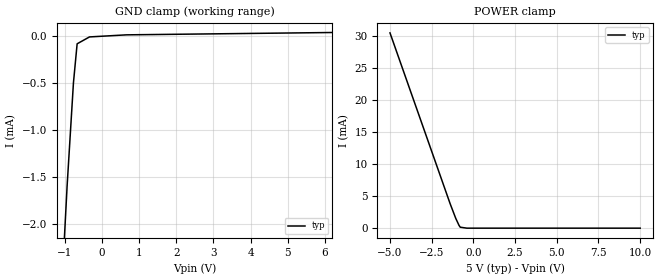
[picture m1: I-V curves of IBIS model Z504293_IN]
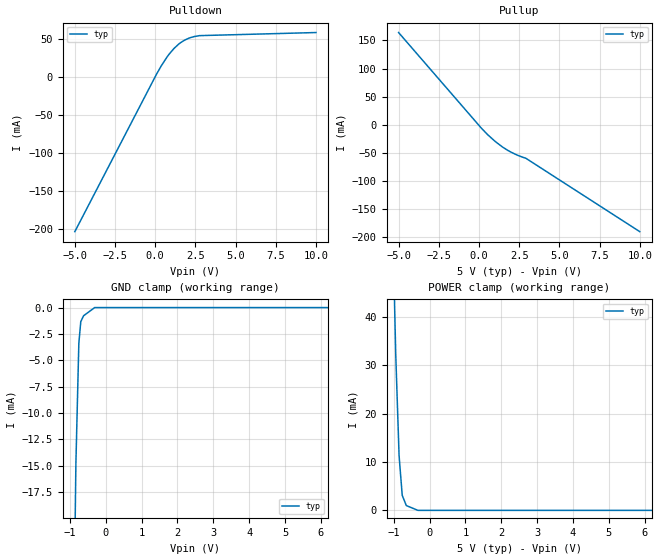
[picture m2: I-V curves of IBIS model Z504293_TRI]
| YOU ARE ONLY AUTHORIZED TO USE THIS SOFTWARE
| ACCORDING TO LICENSOR'S LICENSE RESTRICTIONS.
[IBIS Ver] 3.1
[File Name] mc54hct240aj.ibs
[File Rev] 2.0
[Source] Measured and created by ICX Technology
[Date] Friday 7/14/00 9:08:11 AM
[Copyright]
| (C) COPYRIGHT 1993-2000
| MENTOR GRAPHICS CORPORATION
| ICX STANDARD LIBRARY, ICX PROJECT MODELING,
| ICX CUSTOM MODELING, ICX VENDOR MODEL
| ALL RIGHTS RESERVED.
| THE FOLLOWING ARE TRADEMARKS OR SERVICE MARKS OF
| MENTOR GRAPHICS CORPORATION:ICX (R), ICX STANDARD
| LIBRARY(R), ICX PROJECT MODELING(R), ICX CUSTOM
| MODELING(R), qualityIBIS(TM), MODELVIEWER(TM),
| AND MODELEDITOR(TM)
| ALL COPIES OF SOFTWARE, INCLUDING BUT NOT LIMITED TO
| ANY MODIFICATIONS, ENHANCEMENTS OR DERIVATIVE WORKS,
| MUST CONTAIN ALL MENTOR GRAPHICS CORPORATION'S
| NOTICES AND LEGENDS, INCLUDING THOSE EMBEDDED IN
| SOFTWARE AND THOSE AFFIXED TO SOFTWARE MEDIUM
| AND CONTAINER, AS RECEIVED FROM MENTOR GRAPHICS
| CORPORATION.
|  ZAP Model Builder 2.7
[Component] MC54HCT240AJ
[Manufacturer] OnSemiconductor
[Package]
| variable   typ   min   max
R_pkg  .216ohms NA NA
L_pkg  5.76nH NA NA
C_pkg  2.193pF NA NA
[Pin] signal_name  model_name  R_pin  L_pin C_pin
1 _G Z504293_IN .232 9.76n 3.179p
2 A0 Z504293_IN .224 7.26n 2.686p
3 _Y3 Z504293_TRI .216 5.26n 2.193p
4 A1 Z504293_IN .208 3.76n 1.7p
5 _Y2 Z504293_TRI .2 2.76n 1.207p
6 A2 Z504293_IN .2 2.76n 1.207p
7 _Y1 Z504293_TRI .208 3.76n 1.7p
8 A3 Z504293_IN .216 5.26n 2.193p
9 _Y0 Z504293_TRI .224 7.26n 2.686p
10 GND GND .232 9.76n 3.179p
11 A0 Z504293_IN .232 9.76n 3.179p
12 _Y3 Z504293_TRI .224 7.26n 2.686p
13 A1 Z504293_IN .216 5.26n 2.193p
14 _Y2 Z504293_TRI .208 3.76n 1.7p
15 A2 Z504293_IN .2 2.76n 1.207p
16 _Y1 Z504293_TRI .2 2.76n 1.207p
17 A3 Z504293_IN .208 3.76n 1.7p
18 _Y0 Z504293_TRI .216 5.26n 2.193p
19 _G Z504293_IN .224 7.26n 2.686p
20 VCC POWER .232 9.76n 3.179p
| Models and submodels in the file (2): Z504293_IN (Input), Z504293_TRI (3-state)
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| (C) COPYRIGHT 1993-2000
| MENTOR GRAPHICS CORPORATION
| ICX STANDARD LIBRARY, ICX PROJECT MODELING,
| ICX CUSTOM MODELING, ICX VENDOR MODEL
| ALL RIGHTS RESERVED.
| THE FOLLOWING ARE TRADEMARKS OR SERVICE MARKS OF
| MENTOR GRAPHICS CORPORATION:ICX (R), ICX STANDARD
| LIBRARY(R), ICX PROJECT MODELING(R), ICX CUSTOM
| MODELING(R), qualityIBIS(TM), MODELVIEWER(TM),
| AND MODELEDITOR(TM)
| ALL COPIES OF SOFTWARE, INCLUDING BUT NOT LIMITED TO
| ANY MODIFICATIONS, ENHANCEMENTS OR DERIVATIVE WORKS,
| MUST CONTAIN ALL MENTOR GRAPHICS CORPORATION'S
| NOTICES AND LEGENDS, INCLUDING THOSE EMBEDDED IN
| SOFTWARE AND THOSE AFFIXED TO SOFTWARE MEDIUM
| AND CONTAINER, AS RECEIVED FROM MENTOR GRAPHICS
| CORPORATION.
| Model Application Version 1.89 2/18/99.
[Model] Z504293_IN
Model_type Input
Vinl = 800.0mV
Vinh = 2.000V
C_comp 4.000pF NA NA
| variable typ   min   max
[Voltage Range] 5.000V NA NA
[GND Clamp Reference] 0.000V NA NA
[POWER Clamp Reference] 5.000V NA NA
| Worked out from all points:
|   GND clamp passes 1 mA (typ) near -0.84 V on its own axis
|   POWER clamp passes 1 mA (typ) near -0.96 V on its own axis
[GND Clamp]
-5V       -33.72mA   NA         NA
-1.321V   -4.536mA   NA         NA
-932.5mV  -1.592mA   NA         NA
-763.2mV  -498.8uA   NA         NA
-664.1mV  -82.75uA   NA         NA
-332mV    -9.376uA   NA         NA
666.7mV   12.83uA    NA         NA
10V       54.93uA    NA         NA
[POWER Clamp]
-5V       30.56mA    NA         NA
-1.391V   3.802mA    NA         NA
-1.055V   1.517mA    NA         NA
-864mV    450.3uA    NA         NA
-790mV    153uA      NA         NA
-395mV    0A         NA         NA
10V       0A         NA         NA
| (C) COPYRIGHT 1993-2000
| MENTOR GRAPHICS CORPORATION
| ICX STANDARD LIBRARY, ICX PROJECT MODELING,
| ICX CUSTOM MODELING, ICX VENDOR MODEL
| ALL RIGHTS RESERVED.
| THE FOLLOWING ARE TRADEMARKS OR SERVICE MARKS OF
| MENTOR GRAPHICS CORPORATION:ICX (R), ICX STANDARD
| LIBRARY(R), ICX PROJECT MODELING(R), ICX CUSTOM
| MODELING(R), qualityIBIS(TM), MODELVIEWER(TM),
| AND MODELEDITOR(TM)
| ALL COPIES OF SOFTWARE, INCLUDING BUT NOT LIMITED TO
| ANY MODIFICATIONS, ENHANCEMENTS OR DERIVATIVE WORKS,
| MUST CONTAIN ALL MENTOR GRAPHICS CORPORATION'S
| NOTICES AND LEGENDS, INCLUDING THOSE EMBEDDED IN
| SOFTWARE AND THOSE AFFIXED TO SOFTWARE MEDIUM
| AND CONTAINER, AS RECEIVED FROM MENTOR GRAPHICS
| CORPORATION.
| Model Application Version 1.89 2/18/99.
[Model] Z504293_TRI
Model_type 3-state
Vref=0.000V
Rref=500.0Mohms
Cref=50.00pF
Vmeas=1.300V
C_comp 8.000pF NA NA
| variable typ   min   max
[Voltage Range] 5.000V NA NA
[POWER Clamp Reference] 5.000V NA NA
[Pullup Reference] 5.000V NA NA
[Pulldown Reference] 0.000V NA NA
[GND Clamp Reference] 0.000V NA NA
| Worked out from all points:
|   slope of the pulldown table from 0 to 0.75 V, typ, clamps not added: 28.5 ohm
|   slope of the pullup table from 0 to 0.75 V, typ, clamps not added: 34.3 ohm
|   GND clamp passes 1 mA (typ) near -0.65 V on its own axis
|   POWER clamp passes 1 mA (typ) near -0.65 V on its own axis
[GND Clamp]
-5V       -1.141A    NA         NA
-834.2mV  -14.79mA   NA         NA
-751.9mV  -3.369mA   NA         NA
-698.1mV  -1.34mA    NA         NA
-619.2mV  -773.7uA   NA         NA
-309.6mV  0A         NA         NA
10V       0A         NA         NA
[Pulldown]
-5V       -203.7mA   NA         NA
83.08mV   3.367mA    NA         NA
759.5mV   26.61mA    NA         NA
1.167V    37.05mA    NA         NA
1.44V     42.41mA    NA         NA
2.088V    50.56mA    NA         NA
2.742V    53.91mA    NA         NA
10V       57.99mA    NA         NA
[Pullup]
-5V       164.1mA    NA         NA
159mV     -6.153mA   NA         NA
547mV     -17.57mA   NA         NA
1.011V    -29.51mA   NA         NA
1.476V    -39.53mA   NA         NA
1.753V    -44.63mA   NA         NA
1.968V    -48.1mA    NA         NA
2.363V    -53.52mA   NA         NA
2.695V    -57.21mA   NA         NA
2.91V     -59.21mA   NA         NA
10V       -189.7mA   NA         NA
[POWER Clamp]
-5V       1.319A     NA         NA
-943mV    32.22mA    NA         NA
-850mV    11.3mA     NA         NA
-762mV    3.095mA    NA         NA
-648mV    987.4uA    NA         NA
-324mV    0A         NA         NA
10V       0A         NA         NA
[Ramp]
| variable typ min max
dV/dt_r 2.837/2.252n NA NA
dV/dt_f 2.837/2.251n NA NA
R_load = 500.0Ohms
